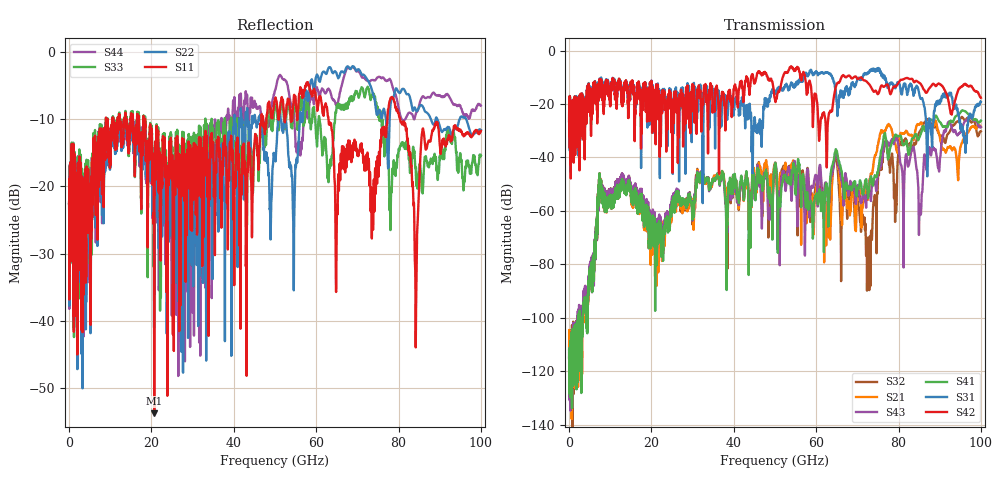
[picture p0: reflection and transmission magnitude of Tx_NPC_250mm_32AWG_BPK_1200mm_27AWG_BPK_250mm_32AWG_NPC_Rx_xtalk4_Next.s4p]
! Info: Touchstone file created by Circ.  Input file=Tx_NPC_250mm_32AWG_BPK_1200mm_27AWG_BPK_250mm_32AWG_NPC_Rx.circ
# Hz S RI R 50
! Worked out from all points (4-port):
!   10000 points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, 10 MHz to 100 GHz, reference 50 ohm
!   strongest paths, dB at 10 MHz, 25.01 GHz, 50.01 GHz, 75.01 GHz, 100 GHz:
!     S42: -26.4, -19.9, -18.4, -16.3, -17.6
!     S31: -26.4, -18.6, -15.6, -6.8, -19.2
!     S41: -112.0, -56.2, -42.3, -45.6, -26.2
!     S43: -115.0, -54.5, -42.2, -45.2, -28.6
!     S21: -110.8, -57.1, -42.0, -35.4, -28.6
!     S32: -115.2, -55.3, -42.5, -47.5, -30.2
!   lowest |S11| = -53.8 dB at 20.68 GHz (marker M1), VSWR 1.00, Z = 50 + j0.2 ohm
!   |S11| at or under -10 dB: 18.45 GHz to 46.68 GHz (28.22 GHz wide, 86.7 % of centre); 63 GHz to 77.29 GHz (14.3 GHz wide, 20.4 % of centre); 80.37 GHz to end of sweep (the widest 3 of 39)
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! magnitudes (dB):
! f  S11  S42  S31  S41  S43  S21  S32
! 10 MHz  -22.6  -26.4  -26.4  -112.0  -115.0  -110.8  -115.2
! 20.68 GHz  -53.8  -22.6  -20.3  -63.8  -61.3  -63.9  -61.9
! 64.67 GHz  -24.4  -14.2  -14.1  -37.6  -38.6  -39.2  -39.9
! 72.77 GHz  -15.9  -12.4  -8.3  -52.4  -52.7  -52.1  -70.9
! 76.75 GHz  -12.1  -13.2  -11.0  -31.3  -34.4  -29.9  -35.3
! 85.33 GHz  -15.2  -12.4  -18.0  -31.5  -61.5  -27.0  -29.9
! 100 GHz  -11.7  -17.6  -19.2  -26.2  -28.6  -28.6  -30.2
